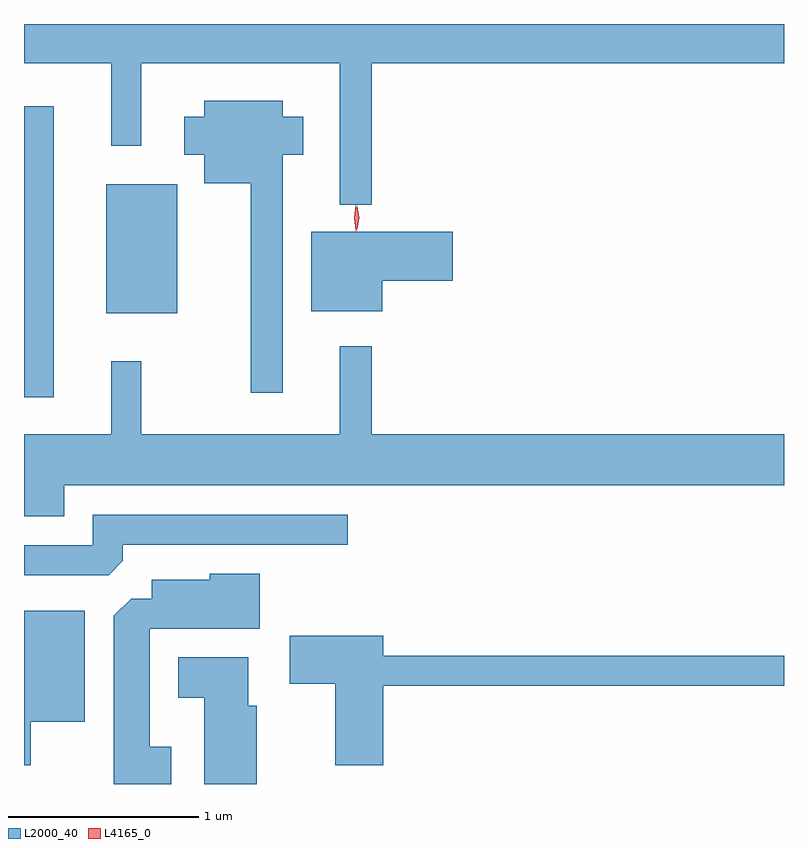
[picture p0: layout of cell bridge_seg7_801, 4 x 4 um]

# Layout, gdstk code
import gdstk
lib = gdstk.Library(unit=1e-6, precision=1e-09)
def R(c, l, rs):  # rectangles x0, y0, x1, y1
    for r in rs: c.add(gdstk.rectangle(r[:2], r[2:], *l))
def P(c, l, *ps):  # polygons
    for p in ps: c.add(gdstk.Polygon(p, *l))
L2000_40 = (2000, 40)
L4165_0 = (4165, 0)

bridge_seg7_801 = lib.new_cell('bridge_seg7_801')
R(bridge_seg7_801, L2000_40, [(230.998,1774.718,231.154,1776.249), (231.431,1775.161,231.804,1775.839)])
P(bridge_seg7_801, L2000_40, [(232.829,1776.476),(234.998,1776.476),(234.998,1776.683),(230.998,1776.683),(230.998,1776.476),(231.456,1776.476),(231.456,1776.043),(231.614,1776.043),(231.614,1776.476),(232.661,1776.476),(232.661,1775.733),(232.829,1775.733)],
  [(232.359,1775.996),(232.469,1775.996),(232.469,1776.194),(232.359,1776.194),(232.359,1776.279),(231.946,1776.279),(231.946,1776.194),(231.841,1776.194),(231.841,1775.996),(231.946,1775.996),(231.946,1775.846),(232.191,1775.846),(232.191,1774.743),(232.359,1774.743)],
  [(232.884,1775.331),(233.254,1775.331),(233.254,1775.589),(232.511,1775.589),(232.511,1775.171),(232.884,1775.171)],
  [(231.209,1774.256),(234.998,1774.256),(234.998,1774.524),(232.829,1774.524),(232.829,1774.988),(232.661,1774.988),(232.661,1774.524),(231.614,1774.524),(231.614,1774.908),(231.456,1774.908),(231.456,1774.524),(230.998,1774.524),(230.998,1774.091),(231.209,1774.091)],
  [(231.519,1773.857),(231.519,1773.941),(232.703,1773.941),(232.703,1774.099),(231.361,1774.099),(231.361,1773.939),(230.998,1773.939),(230.998,1773.781),(231.444,1773.781)],
  [(231.774,1772.879),(231.659,1772.879),(231.659,1773.501),(232.239,1773.501),(232.239,1773.789),(231.976,1773.789),(231.976,1773.759),(231.671,1773.759),(231.671,1773.659),(231.562,1773.659),(231.471,1773.569),(231.471,1772.683),(231.774,1772.683)],
  [(231.034,1773.011),(231.319,1773.011),(231.319,1773.594),(230.998,1773.594),(230.998,1772.781),(231.034,1772.781)],
  [(232.889,1773.201),(234.998,1773.201),(234.998,1773.359),(232.889,1773.359),(232.889,1773.464),(232.396,1773.464),(232.396,1773.211),(232.636,1773.211),(232.636,1772.781),(232.889,1772.781)],
  [(232.224,1773.094),(232.179,1773.094),(232.179,1773.349),(231.811,1773.349),(231.811,1773.136),(231.946,1773.136),(231.946,1772.683),(232.224,1772.683)])
P(bridge_seg7_801, L4165_0, [(232.745,1775.594),(232.735,1775.662),(232.744,1775.73),(232.745,1775.73),(232.745,1775.73),(232.755,1775.662),(232.746,1775.594),(232.746,1775.594)],
  [(232.752,1775.6),(232.752,1775.601),(232.742,1775.664),(232.751,1775.726),(232.751,1775.727),(232.752,1775.726),(232.762,1775.664),(232.753,1775.601)])

lib.write_gds('bridge_seg7_801.gds')
